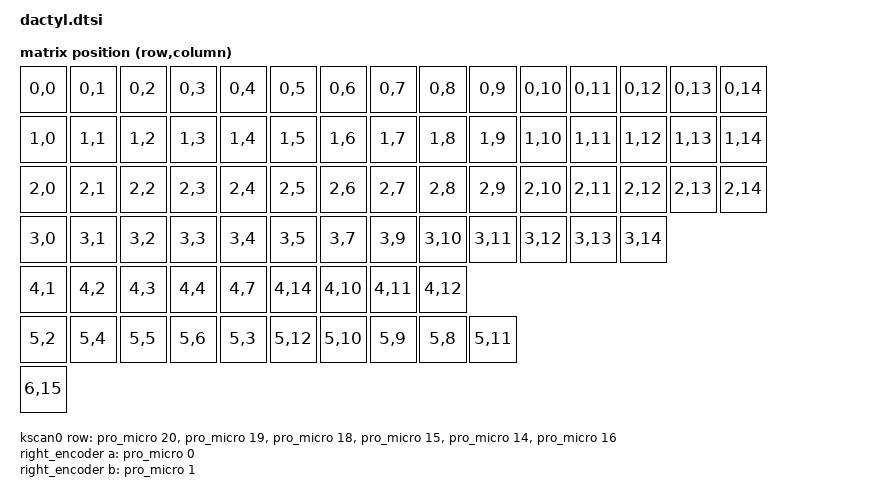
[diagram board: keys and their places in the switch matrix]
#include <dt-bindings/zmk/matrix_transform.h>

/ {
    chosen {
        zmk,kscan = &kscan_composite;
        zmk,matrix_transform = &default_transform;
        zmk,split = &split;
    };

    default_transform: keymap_transform_0 {
        compatible = "zmk,matrix-transform";
        columns = <16>;
        rows = <7>;
// Only physical keys are listed, in physical left-to-right order.
// No &none padding needed in the keymap.
//
// Row 0: 7L + 5way + 7R = 15       Row 3: 6L + 5way + 6R = 13
// Row 1: 7L + 5way + 7R = 15       Row 4: 4L + 5way + 4R = 9
// Row 2: 7L + 5way + 7R = 15       Row 5: 5L + 5R        = 10
// Row 6: 1 EC11 push               Total: 63 bindings per layer
//
// Left:  36 keys + 5 five-way = 41
// Right: 36 keys + 1 EC11 push = 37
// Grand total: 63 physical positions (+ EC11 rotation via sensor)

        map = <
// Row 0: L(c0-c6) 5way R(c8-c14) = 15
RC(0,0) RC(0,1) RC(0,2) RC(0,3) RC(0,4) RC(0,5) RC(0,6)   RC(0,7)   RC(0,8) RC(0,9) RC(0,10) RC(0,11) RC(0,12) RC(0,13) RC(0,14)
// Row 1: L(c0-c6) 5way R(c8-c14) = 15
RC(1,0) RC(1,1) RC(1,2) RC(1,3) RC(1,4) RC(1,5) RC(1,6)   RC(1,7)   RC(1,8) RC(1,9) RC(1,10) RC(1,11) RC(1,12) RC(1,13) RC(1,14)
// Row 2: L(c0-c6) 5way R(c8-c14) = 15
RC(2,0) RC(2,1) RC(2,2) RC(2,3) RC(2,4) RC(2,5) RC(2,6)   RC(2,7)   RC(2,8) RC(2,9) RC(2,10) RC(2,11) RC(2,12) RC(2,13) RC(2,14)
// Row 3: L(c0-c5) 5way R(c9-c14) = 13
RC(3,0) RC(3,1) RC(3,2) RC(3,3) RC(3,4) RC(3,5)   RC(3,7)   RC(3,9) RC(3,10) RC(3,11) RC(3,12) RC(3,13) RC(3,14)
// Row 4: L(c1-c4) 5way R(c14,c10,c11,c12) = 9  [physical order]
RC(4,1) RC(4,2) RC(4,3) RC(4,4)   RC(4,7)   RC(4,14) RC(4,10) RC(4,11) RC(4,12)
// Row 5: L(c2,c4,c5,c6,c3) R(c12,c10,c9,c8,c11) = 10  [physical order]
RC(5,2) RC(5,4) RC(5,5) RC(5,6) RC(5,3)   RC(5,12) RC(5,10) RC(5,9) RC(5,8) RC(5,11)
// Row 6: EC11 push button = 1
RC(6,15)
        >;
    };

    kscan0: kscan {
        compatible = "zmk,kscan-gpio-matrix";

        diode-direction = "col2row";
        row-gpios
            = <&pro_micro 20 (GPIO_ACTIVE_HIGH | GPIO_PULL_DOWN)>
            , <&pro_micro 19 (GPIO_ACTIVE_HIGH | GPIO_PULL_DOWN)>
            , <&pro_micro 18 (GPIO_ACTIVE_HIGH | GPIO_PULL_DOWN)>
            , <&pro_micro 15 (GPIO_ACTIVE_HIGH | GPIO_PULL_DOWN)>
            , <&pro_micro 14 (GPIO_ACTIVE_HIGH | GPIO_PULL_DOWN)>
            , <&pro_micro 16 (GPIO_ACTIVE_HIGH | GPIO_PULL_DOWN)>
            ;
    };

    // Composite kscan: matrix keys + EC11 push button (added per-side in overlays)
    kscan_composite: kscan_composite {
        compatible = "zmk,kscan-composite";
        rows = <7>;
        columns = <16>;

        matrix {
            kscan = <&kscan0>;
        };

        // EC11 push button child is added in dactyl_right.overlay
    };

    right_encoder: encoder_right {
        compatible = "alps,ec11";
        a-gpios = <&pro_micro 0 (GPIO_ACTIVE_HIGH | GPIO_PULL_UP)>;
        b-gpios = <&pro_micro 1 (GPIO_ACTIVE_HIGH | GPIO_PULL_UP)>;
        steps = <80>;
        status = "disabled";
    };

    sensors: sensors {
        compatible = "zmk,keymap-sensors";
        sensors = <&right_encoder>;
        triggers-per-rotation = <20>;
    };

    split: split {
        compatible = "zmk,split-peripheral-left";
        status = "disabled";
    };
};
